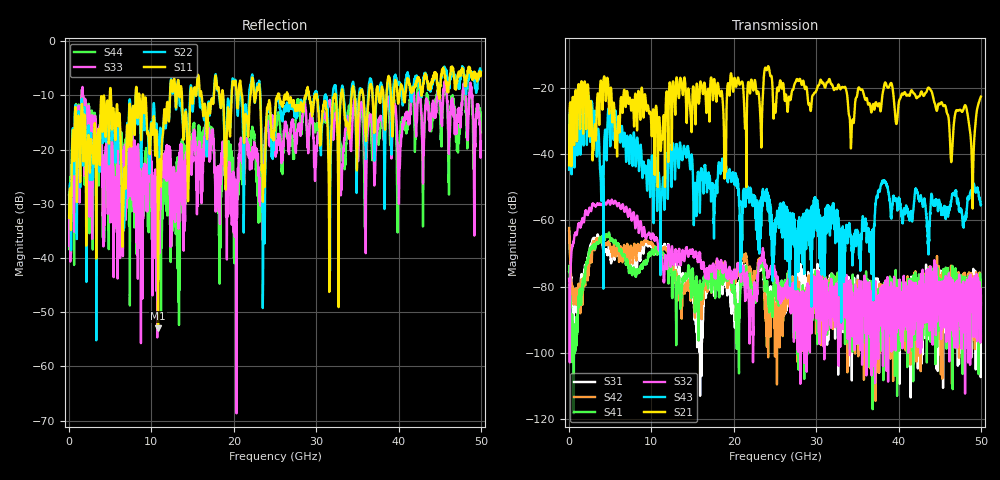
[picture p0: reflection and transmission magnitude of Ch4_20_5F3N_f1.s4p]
!Agilent Technologies,N5247A,US51170199,A.09.90.13
!Agilent N5247A: A.09.90.13
!Date: Monday, December 14, 2015 15:24:45
!Correction: S11(Full 4 Port(1,2,3,4))
!S12(Full 4 Port(1,2,3,4))
!S13(Full 4 Port(1,2,3,4))
!S14(Full 4 Port(1,2,3,4))
!S21(Full 4 Port(1,2,3,4))
!S22(Full 4 Port(1,2,3,4))
!S23(Full 4 Port(1,2,3,4))
!S24(Full 4 Port(1,2,3,4))
!S31(Full 4 Port(1,2,3,4))
!S32(Full 4 Port(1,2,3,4))
!S33(Full 4 Port(1,2,3,4))
!S34(Full 4 Port(1,2,3,4))
!S41(Full 4 Port(1,2,3,4))
!S42(Full 4 Port(1,2,3,4))
!S43(Full 4 Port(1,2,3,4))
!S44(Full 4 Port(1,2,3,4))
!S4P File: Measurements: <S11,S12,S13,S14>,
!<S21,S22,S23,S24>,
!<S31,S32,S33,S34>,
!<S41,S42,S43,S44>:
# Hz S  dB  R 50
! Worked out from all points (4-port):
!   3201 points, 10 MHz to 50 GHz, reference 50 ohm
!   strongest paths, dB at 10 MHz, 12.51 GHz, 25 GHz, 37.5 GHz, 50 GHz:
!     S21: -43.3, -27.8, -26.2, -25.5, -22.6
!     S43: -44.7, -40.1, -62.5, -51.7, -55.3
!     S32: -77.6, -67.8, -75.9, -93.4, -85.1
!     S41: -75.4, -83.2, -78.4, -82.6, -94.9
!     S42: -62.3, -72.4, -101.1, -85.7, -95.7
!     S31: -63.3, -69.9, -80.2, -91.3, -82.7
!   lowest |S11| = -53.0 dB at 10.8 GHz (marker M1), VSWR 1.00, Z = 50.1 + j0.203 ohm
!   |S11| at or under -10 dB: start of sweep to 4.95 GHz; 5.09 GHz to 8.083 GHz (2.993 GHz wide, 45.4 % of centre); 8.995 GHz to 12.26 GHz (3.264 GHz wide, 30.7 % of centre)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
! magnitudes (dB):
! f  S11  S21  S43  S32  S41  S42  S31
! 10 MHz  -32.6  -43.3  -44.7  -77.6  -75.4  -62.3  -63.3
! 3.025 GHz  -19.5  -36.6  -32.5  -55.4  -67.8  -67.5  -65.6
! 10.8 GHz  -53.0  -40.5  -47.3  -67.7  -68.8  -68.9  -69.2
! 24.04 GHz  -12.4  -14.5  -54.5  -74.9  -81.0  -90.0  -84.8
! 36.72 GHz  -8.5  -27.4  -72.6  -106.8  -83.8  -87.4  -80.8
! 48.98 GHz  -7.2  -54.9  -49.7  -77.7  -86.3  -82.5  -79.8
! 50 GHz  -5.8  -22.6  -55.3  -85.1  -94.9  -95.7  -82.7
